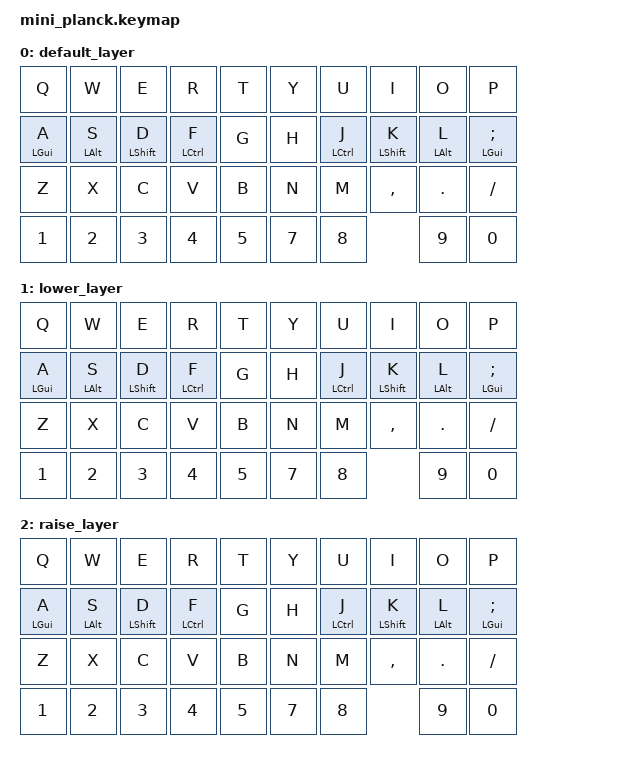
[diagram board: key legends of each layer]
#include <behaviors.dtsi>
#include <dt-bindings/zmk/keys.h>
#include <dt-bindings/zmk/bt.h>

/ {
        keymap {
                compatible = "zmk,keymap";

                default_layer {
// -----------------------------------------------------------------------------------------
// |  ESC |  1  |  2  |  3  |  4  |  5  |   |  6  |  7   |  8  |  9  |  0  |  ?   |
// |  TAB |  Q  |  W  |  E  |  R  |  T  |   |  Y  |  U   |  I  |  O  |  P  | BKSP |
// | CTRL |  A  |  S  |  D  |  F  |  G  |   |  H  |  J   |  K  |  L  |  ;  |  '   |
// | SHFT |  Z  |  X  |  C  |  V  |  B  |   |  N  |  M   |  ,  |  .  |  /  | ESC  |
//                    | GUI | LWR | SPC |   | ENT | RSE  | ALT |
                        bindings = <
&kp Q            &kp W            &kp E              &kp R         &kp T        &kp Y    &kp U            &kp I              &kp O            &kp P
&hml LEFT_GUI A  &hml LEFT_ALT S  &hml LEFT_SHIFT D  &hml LCTRL F  &kp G        &kp H    &hmr LCTRL J     &hmr LEFT_SHIFT K  &hmr LEFT_ALT L  &hmr LEFT_GUI SEMI
&kp Z            &kp X            &kp C              &kp V         &kp B        &kp N    &kp M            &kp COMMA          &kp DOT          &kp SLASH
&kp N1           &kp N2           &kp N3             &kp N4        &kp N5       &kp N7           &kp N8             &kp N9           &kp N0
                        >;
                };
                lower_layer {
// -----------------------------------------------------------------------------------------
// |  TAB |  F1 |  F2 |  F3 |  F4 |  F5 |   |  F6 |  F7 |  F8 |  F9 | F10 | BKSP |
// |  TAB |  1  |  2  |  3  |  4  |  5  |   |  6  |  7  |  8  |  9  |  0  | BKSP |
// | BTCLR| BT1 | BT2 | BT3 | BT4 | BT5 |   | LFT | DWN |  UP | RGT |     |      |
// | SHFT |     |     |     |     |     |   |     |     |     |     |     |      |
//                    | GUI |     | SPC |   | ENT |     | ALT |
                        bindings = <
&kp Q            &kp W            &kp E              &kp R         &kp T        &kp Y    &kp U            &kp I              &kp O            &kp P
&hml LEFT_GUI A  &hml LEFT_ALT S  &hml LEFT_SHIFT D  &hml LCTRL F  &kp G        &kp H    &hmr LCTRL J     &hmr LEFT_SHIFT K  &hmr LEFT_ALT L  &hmr LEFT_GUI SEMI
&kp Z            &kp X            &kp C              &kp V         &kp B        &kp N    &kp M            &kp COMMA          &kp DOT          &kp SLASH
&kp N1           &kp N2           &kp N3             &kp N4        &kp N5       &kp N7           &kp N8             &kp N9           &kp N0
                        >;
                };

                raise_layer {
// -----------------------------------------------------------------------------------------
// |  TAB |  !  |  @  |  #  |  $  |  %  |   |  ^  |  &  |  *  |  (  |  )  | BKSP |
// | CTRL |     |     |     |     |     |   |  -  |  =  |  [  |  ]  |  \  |  `   |
// | SHFT |     |     |     |     |     |   |  _  |  +  |  {  |  }  | "|" |  ~   |
//                    | GUI |     | SPC |   | ENT |     | ALT |
                        bindings = <
&kp Q            &kp W            &kp E              &kp R         &kp T        &kp Y    &kp U            &kp I              &kp O            &kp P
&hml LEFT_GUI A  &hml LEFT_ALT S  &hml LEFT_SHIFT D  &hml LCTRL F  &kp G        &kp H    &hmr LCTRL J     &hmr LEFT_SHIFT K  &hmr LEFT_ALT L  &hmr LEFT_GUI SEMI
&kp Z            &kp X            &kp C              &kp V         &kp B        &kp N    &kp M            &kp COMMA          &kp DOT          &kp SLASH
&kp N1           &kp N2           &kp N3             &kp N4        &kp N5       &kp N7           &kp N8             &kp N9           &kp N0
                        >;
                };
        };
};
